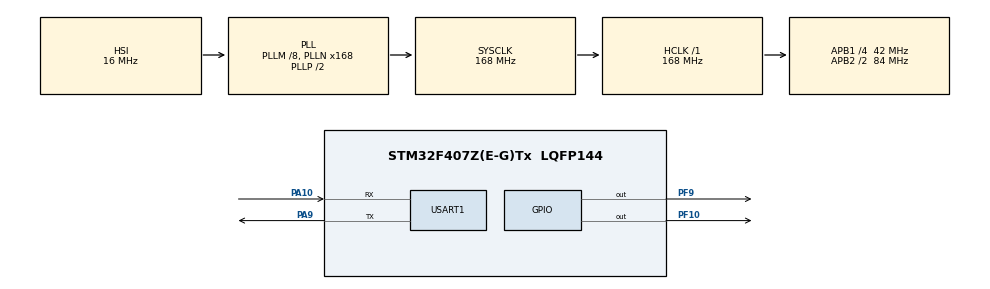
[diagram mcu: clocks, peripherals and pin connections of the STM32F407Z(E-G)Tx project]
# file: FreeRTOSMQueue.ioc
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FREERTOS.BinarySemaphores01=myBinarySem01,Dynamic,NULL
FREERTOS.Tasks01=Mail,0,128,MailTask,Default,NULL,Dynamic,NULL,NULL;MailConsumer,0,128,MailConsumerTask,Default,NULL,Dynamic,NULL,NULL;myTask03,-3,128,StartTask03,Default,NULL,Dynamic,NULL,NULL
Mcu.Family=STM32F4
Mcu.Name=STM32F407Z(E-G)Tx
Mcu.Package=LQFP144
NVIC.PriorityGroup=NVIC_PRIORITYGROUP_4
NVIC.TIM4_IRQn=true\:0\:0\:false\:false\:true\:false\:false\:true
NVIC.TimeBase=TIM4_IRQn
NVIC.TimeBaseIP=TIM4
NVIC.USART1_IRQn=true\:5\:0\:false\:false\:true\:true\:true\:true
PA10.Mode=Asynchronous
PA10.Signal=USART1_RX
PA13.Mode=Serial_Wire
PA13.Signal=SYS_JTMS-SWDIO
PA14.Mode=Serial_Wire
PA14.Signal=SYS_JTCK-SWCLK
PA9.Mode=Asynchronous
PA9.Signal=USART1_TX
PF10.Signal=GPIO_Output
PF9.Signal=GPIO_Output
PH0-OSC_IN.Mode=HSE-External-Oscillator
PH0-OSC_IN.Signal=RCC_OSC_IN
PH1-OSC_OUT.Mode=HSE-External-Oscillator
PH1-OSC_OUT.Signal=RCC_OSC_OUT
ProjectManager.HeapSize=0x200
ProjectManager.StackSize=0x400
ProjectManager.TargetToolchain=MDK-ARM V5.27
RCC.48MHZClocksFreq_Value=84000000
RCC.AHBFreq_Value=168000000
RCC.APB1CLKDivider=RCC_HCLK_DIV4
RCC.APB1Freq_Value=42000000
RCC.APB1TimFreq_Value=84000000
RCC.APB2CLKDivider=RCC_HCLK_DIV2
RCC.APB2Freq_Value=84000000
RCC.APB2TimFreq_Value=168000000
RCC.CortexFreq_Value=168000000
RCC.HCLKFreq_Value=168000000
RCC.HSE_VALUE=25000000
RCC.HSI_VALUE=16000000
RCC.LSE_VALUE=32768
RCC.PLLM=8
RCC.PLLN=168
RCC.SYSCLKFreq_VALUE=168000000
RCC.SYSCLKSource=RCC_SYSCLKSOURCE_PLLCLK
RCC.VCOOutputFreq_Value=336000000
USART1.VirtualMode=VM_ASYNC
VP_FREERTOS_VS_CMSIS_V1.Mode=CMSIS_V1
VP_SYS_VS_tim4.Mode=TIM4
board=custom

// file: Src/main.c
/* USER CODE BEGIN Header */
/**
  ******************************************************************************
  * @file           : main.c
  * @brief          : Main program body
  ******************************************************************************
  * @attention
  *
  * <h2><center>&copy; Copyright (c) 2020 STMicroelectronics.
  * All rights reserved.</center></h2>
  *
  * This software component is licensed by ST under Ultimate Liberty license
  * SLA0044, the "License"; You may not use this file except in compliance with
  * the License. You may obtain a copy of the License at:
  *                             www.st.com/SLA0044
  *
  ******************************************************************************
  */
/* USER CODE END Header */

#include "main.h"
#include "cmsis_os.h"
#include "usart.h"
#include "gpio.h"
#include "stdio.h"
/* USER CODE BEGIN Includes */
int fputc (int ch, FILE *fp)
{
		HAL_UART_Transmit(&huart1, (uint8_t *)&ch, 1, 10);
		return ch;
}
/* USER CODE END Includes */

/* USER CODE BEGIN PV */
extern osMailQId myMail01Handle;
/* USER CODE END PV */

void SystemClock_Config(void);
void MX_FREERTOS_Init(void);

int main(void)
{

  /* MCU Configuration--------------------------------------------------------*/

  /* Reset of all peripherals, Initializes the Flash interface and the Systick. */
  HAL_Init();

  /* Configure the system clock */
  SystemClock_Config();

  /* Initialize all configured peripherals */
  MX_GPIO_Init();
  MX_USART1_UART_Init();

  /* Call init function for freertos objects (in freertos.c) */
  MX_FREERTOS_Init();
  /* Start scheduler */
  osKernelStart();

  /* We should never get here as control is now taken by the scheduler */
  /* Infinite loop */
  while (1)
  {

  }
}

void SystemClock_Config(void)
{
  RCC_OscInitTypeDef RCC_OscInitStruct = {0};
  RCC_ClkInitTypeDef RCC_ClkInitStruct = {0};

  /** Configure the main internal regulator output voltage
  */
  __HAL_RCC_PWR_CLK_ENABLE();
  __HAL_PWR_VOLTAGESCALING_CONFIG(PWR_REGULATOR_VOLTAGE_SCALE1);
  /** Initializes the CPU, AHB and APB busses clocks
  */
  RCC_OscInitStruct.OscillatorType = RCC_OSCILLATORTYPE_HSI;
  RCC_OscInitStruct.HSIState = RCC_HSI_ON;
  RCC_OscInitStruct.HSICalibrationValue = RCC_HSICALIBRATION_DEFAULT;
  RCC_OscInitStruct.PLL.PLLState = RCC_PLL_ON;
  RCC_OscInitStruct.PLL.PLLSource = RCC_PLLSOURCE_HSI;
  RCC_OscInitStruct.PLL.PLLM = 8;
  RCC_OscInitStruct.PLL.PLLN = 168;
  RCC_OscInitStruct.PLL.PLLP = RCC_PLLP_DIV2;
  RCC_OscInitStruct.PLL.PLLQ = 4;
  if (HAL_RCC_OscConfig(&RCC_OscInitStruct) != HAL_OK)
  {
    Error_Handler();
  }
  /** Initializes the CPU, AHB and APB busses clocks
  */
  RCC_ClkInitStruct.ClockType = RCC_CLOCKTYPE_HCLK|RCC_CLOCKTYPE_SYSCLK
                              |RCC_CLOCKTYPE_PCLK1|RCC_CLOCKTYPE_PCLK2;
  RCC_ClkInitStruct.SYSCLKSource = RCC_SYSCLKSOURCE_PLLCLK;
  RCC_ClkInitStruct.AHBCLKDivider = RCC_SYSCLK_DIV1;
  RCC_ClkInitStruct.APB1CLKDivider = RCC_HCLK_DIV4;
  RCC_ClkInitStruct.APB2CLKDivider = RCC_HCLK_DIV2;

  if (HAL_RCC_ClockConfig(&RCC_ClkInitStruct, FLASH_LATENCY_5) != HAL_OK)
  {
    Error_Handler();
  }
}

/* USER CODE BEGIN 4 */
void HAL_UART_TxCpltCallback(UART_HandleTypeDef *huart)
{
	uint8_t rdata[] = "This is a mail message!\n\r";				//这里发送的是一段字符串
	if(huart ->Instance == USART1)
	{
		printf("Entering ISR!\n\r");
		osMailPut(myMail01Handle,&rdata);
	}
}
/* USER CODE END 4 */

 /**
  * @brief  Period elapsed callback in non blocking mode
  * @note   This function is called  when TIM4 interrupt took place, inside
  * HAL_TIM_IRQHandler(). It makes a direct call to HAL_IncTick() to increment
  * a global variable "uwTick" used as application time base.
  * @param  htim : TIM handle
  * @retval None
  */
void HAL_TIM_PeriodElapsedCallback(TIM_HandleTypeDef *htim)
{
  if (htim->Instance == TIM4) {
    HAL_IncTick();
  }
}

void Error_Handler(void)
{
}

/************************ (C) COPYRIGHT STMicroelectronics *****END OF FILE****/

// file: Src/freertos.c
/* USER CODE BEGIN Header */
/**
  ******************************************************************************
  * File Name          : freertos.c
  * Description        : Code for freertos applications
  ******************************************************************************
  * @attention
  *
  * <h2><center>&copy; Copyright (c) 2020 STMicroelectronics.
  * All rights reserved.</center></h2>
  *
  * This software component is licensed by ST under Ultimate Liberty license
  * SLA0044, the "License"; You may not use this file except in compliance with
  * the License. You may obtain a copy of the License at:
  *                             www.st.com/SLA0044
  *
  ******************************************************************************
  */
/* USER CODE END Header */

#include "FreeRTOS.h"
#include "task.h"
#include "main.h"
#include "cmsis_os.h"
#include "usart.h"

/* USER CODE BEGIN Variables */
osMailQId	myMail01Handle;
/* USER CODE END Variables */
osThreadId MailHandle;
osThreadId MailConsumerHandle;
osThreadId myTask03Handle;
osSemaphoreId myBinarySem01Handle;

void MailTask(void const * argument);
void MailConsumerTask(void const * argument);
void StartTask03(void const * argument);

void MX_FREERTOS_Init(void); /* (MISRA C 2004 rule 8.1) */

/* GetIdleTaskMemory prototype (linked to static allocation support) */
void vApplicationGetIdleTaskMemory( StaticTask_t **ppxIdleTaskTCBBuffer, StackType_t **ppxIdleTaskStackBuffer, uint32_t *pulIdleTaskStackSize );

/* USER CODE BEGIN GET_IDLE_TASK_MEMORY */
static StaticTask_t xIdleTaskTCBBuffer;
static StackType_t xIdleStack[configMINIMAL_STACK_SIZE];

void vApplicationGetIdleTaskMemory( StaticTask_t **ppxIdleTaskTCBBuffer, StackType_t **ppxIdleTaskStackBuffer, uint32_t *pulIdleTaskStackSize )
{
  *ppxIdleTaskTCBBuffer = &xIdleTaskTCBBuffer;
  *ppxIdleTaskStackBuffer = &xIdleStack[0];
  *pulIdleTaskStackSize = configMINIMAL_STACK_SIZE;
  /* place for user code */
}
/* USER CODE END GET_IDLE_TASK_MEMORY */

void MX_FREERTOS_Init(void) {

  /* Create the semaphores(s) */
  /* definition and creation of myBinarySem01 */
  osSemaphoreDef(myBinarySem01);
  myBinarySem01Handle = osSemaphoreCreate(osSemaphore(myBinarySem01), 1);

  /* USER CODE BEGIN RTOS_QUEUES */
  /* add queues, ... */
  osMailQDef(myMail01,16,uint16_t);
  myMail01Handle = osMailCreate(osMailQ(myMail01),NULL);
  /* USER CODE END RTOS_QUEUES */

  /* Create the thread(s) */
  /* definition and creation of Mail */
  osThreadDef(Mail, MailTask, osPriorityNormal, 0, 128);
  MailHandle = osThreadCreate(osThread(Mail), NULL);

  /* definition and creation of MailConsumer */
  osThreadDef(MailConsumer, MailConsumerTask, osPriorityNormal, 0, 128);
  MailConsumerHandle = osThreadCreate(osThread(MailConsumer), NULL);

  /* definition and creation of myTask03 */
  osThreadDef(myTask03, StartTask03, osPriorityIdle, 0, 128);
  myTask03Handle = osThreadCreate(osThread(myTask03), NULL);

}

void MailTask(void const * argument)
{
  /* USER CODE BEGIN MailTask */
	uint8_t Msg[]="USART1 Senging message!\n";
  /* Infinite loop */
  for(;;)
  {
		HAL_UART_Transmit_IT((&huart1),Msg,sizeof(Msg));							//中断方式发送数据
		osSemaphoreRelease(myBinarySem01Handle);									//释放二值信号量
    osDelay(1000);
  }
  /* USER CODE END MailTask */
}

void MailConsumerTask(void const * argument)
{
  /* USER CODE BEGIN MailConsumerTask */
  /* Infinite loop */
  for(;;)
  {
	  osSemaphoreWait(myBinarySem01Handle,100);
	  HAL_GPIO_TogglePin(GPIOF,GPIO_PIN_9);
	  osDelay(1);
  }
  /* USER CODE END MailConsumerTask */
}

void StartTask03(void const * argument)
{
  /* USER CODE BEGIN StartTask03 */
	osEvent retval;
	uint8_t *rdata;
  /* Infinite loop */
  for(;;)
  {
	  retval = osMailGet(myMail01Handle,100);
	  if(retval.status == osEventMail)
	  {
		printf("Receiving!!\n\r");
		rdata = retval.value.p;
		printf("var1 : %s\n\r",rdata);
	  }
  }
  /* USER CODE END StartTask03 */
}

/************************ (C) COPYRIGHT STMicroelectronics *****END OF FILE****/
